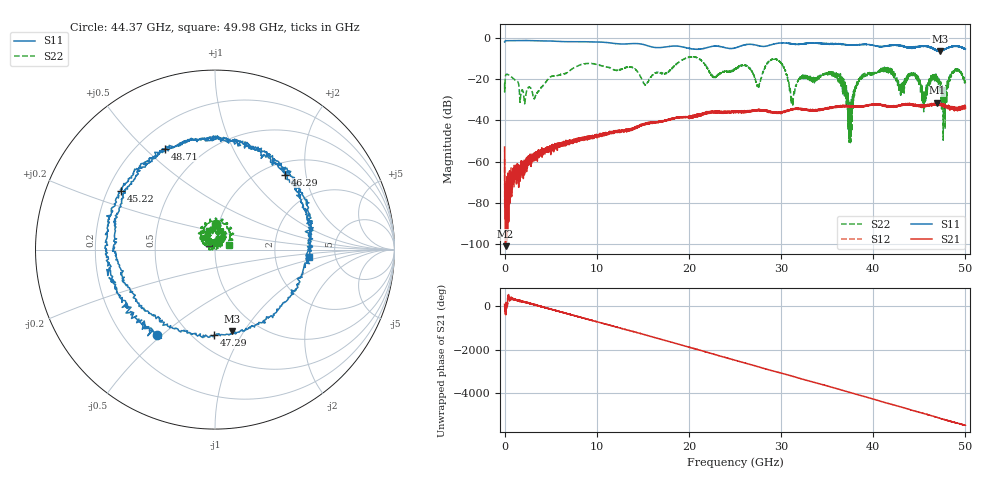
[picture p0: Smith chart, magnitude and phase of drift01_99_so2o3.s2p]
!Created with skrf (http://scikit-rf.org).
# Hz S RI R 50.0
!freq ReS11 ImS11 ReS21 ImS21 ReS12 ImS12 ReS22 ImS22
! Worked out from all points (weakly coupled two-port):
!   10001 points, 300 kHz to 50 GHz, reference 50 ohm
!   highest |S21| = -31.51 dB at 46.91 GHz (marker M1); lowest = -100.8 dB at 100.3 MHz (marker M2)
!   lowest |S11| = -6.7 dB at 47.21 GHz (marker M3), VSWR 2.73, Z = 38.1 - j44.2 ohm
!   |S11| at or under -10 dB: nowhere
!   |S22| runs from -50.8 to -9.2 dB; largest |S21 - S12| = 0.0049
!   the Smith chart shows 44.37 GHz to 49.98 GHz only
!   S11 on the Smith chart (normalised r, x): 44.37 GHz: 0.34, -0.48; 45.22 GHz: 0.26, +0.27; 46.29 GHz: 1.23, +1.53; 47.29 GHz: 0.62, -0.77; 48.71 GHz: 0.31, +0.58; 49.98 GHz: 3.17, -0.34
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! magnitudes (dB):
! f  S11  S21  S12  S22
! 300 kHz  -2.1  -52.9  -58.7  -22.2
! 100.3 MHz  -1.5  -100.8  -72.6  -18.4
! 3.29 GHz  -1.5  -58.1  -59.0  -28.8
! 8.335 GHz  -1.9  -49.2  -49.4  -12.9
! 16.67 GHz  -4.8  -40.8  -40.9  -16.6
! 25 GHz  -5.0  -35.9  -35.9  -15.5
! 29.6 GHz  -2.8  -36.2  -36.4  -10.7
! 31.24 GHz  -3.0  -34.4  -34.7  -31.7
! 33.34 GHz  -2.6  -35.2  -35.2  -19.6
! 36.08 GHz  -3.0  -33.4  -33.5  -18.3
! 37.52 GHz  -3.5  -33.1  -33.0  -41.6
! 38.63 GHz  -3.4  -33.1  -33.3  -19.7
! 41.67 GHz  -3.9  -33.0  -33.3  -15.5
! 44.37 GHz  -4.8  -32.4  -32.6  -17.0
! 45.22 GHz  -4.2  -33.1  -33.0  -23.1
! 46.29 GHz  -4.9  -32.3  -32.3  -20.0
! 46.91 GHz  -6.2  -31.5  -32.0  -20.9
! 47.21 GHz  -6.7  -32.2  -32.1  -24.8
! 47.29 GHz  -6.4  -32.2  -32.3  -22.0
! 48.71 GHz  -4.0  -34.1  -34.0  -15.9
! 49.98 GHz  -5.6  -34.1  -33.4  -21.4
! 50 GHz  -5.5  -33.3  -33.5  -21.4
